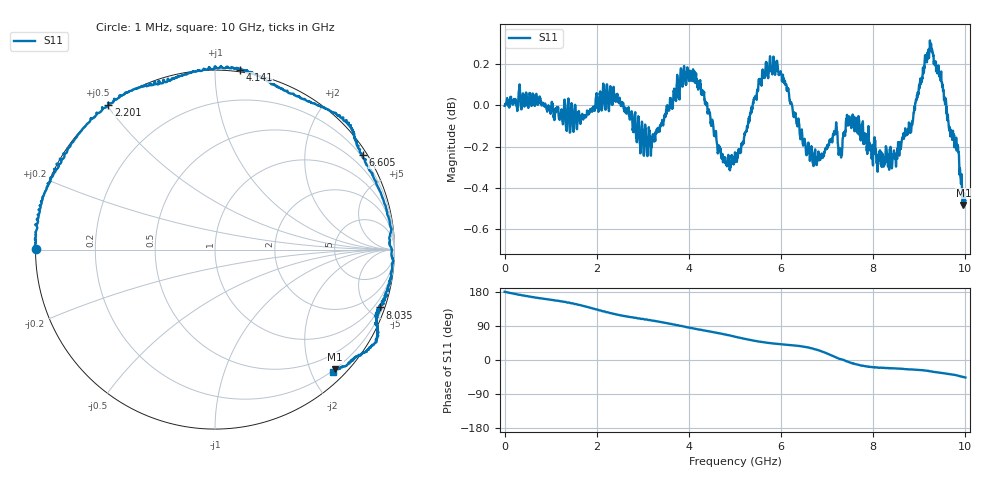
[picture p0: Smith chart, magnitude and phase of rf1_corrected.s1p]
! Created with skrf 1.8.0 (http://scikit-rf.org).
# GHz S RI R 50.0
!freq ReS11 ImS11
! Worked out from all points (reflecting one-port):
!   2001 points, 1 MHz to 10 GHz, reference 50 ohm
!   lowest |S11| = -0.5 dB at 9.955 GHz (marker M1), VSWR 35.88, Z = 9.51 - j120 ohm
!   phase of S11 starts at 180 deg and turns -226 deg over the sweep
!   S11 on the Smith chart (normalised r, x): 1 MHz: 0.00, +0.00; 2.201 GHz: -0.00, +0.51; 4.141 GHz: -0.01, +1.15; 6.605 GHz: 0.15, +3.42; 8.035 GHz: 0.48, -5.83; 10 GHz: 0.17, -2.33
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0.001  -0.9998 0.000711
0.5659435  -0.9792 0.224
1.250875  -0.896 0.4271
1.650835  -0.8065 0.5781
2.20078  -0.5936 0.8081
2.50075  -0.4758 0.8831
3.345665  -0.1931 0.9674
3.750625  -0.0344 1.015
4.140586  0.1375 1.003
5.0005  0.466 0.8554
5.375463  0.6181 0.784
5.635436  0.6986 0.7383
5.870413  0.7441 0.6936
6.250375  0.7753 0.6283
6.60534  0.8225 0.5254
6.785322  0.8668 0.4338
6.930307  0.9103 0.3411
7.175282  0.9746 0.1358
7.50025  0.9846 -0.1167
7.710229  0.9563 -0.2315
7.855214  0.9396 -0.2869
8.035196  0.9185 -0.3223
8.750125  0.8952 -0.4108
9.050095  0.907 -0.4561
9.245076  0.8965 -0.5158
9.775023  0.7557 -0.6228
9.955004  0.6699 -0.6676
10  0.656 -0.6847
